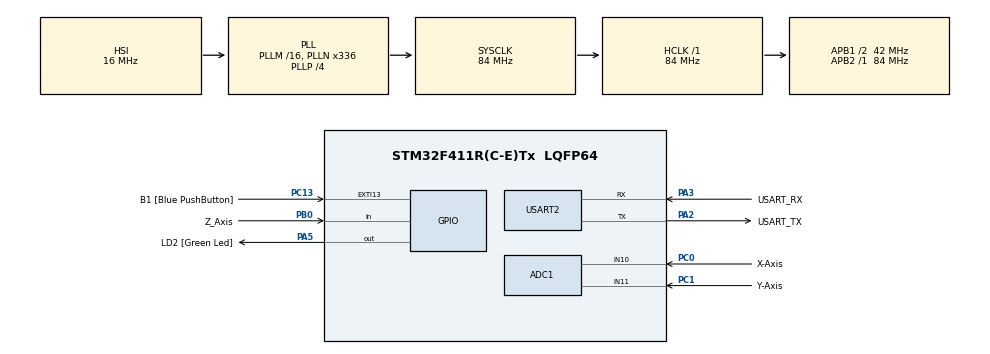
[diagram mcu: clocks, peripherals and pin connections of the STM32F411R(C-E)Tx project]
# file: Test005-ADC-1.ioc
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ADC1.Channel-1\#ChannelRegularConversion=ADC_CHANNEL_10
ADC1.Channel-3\#ChannelRegularConversion=ADC_CHANNEL_11
ADC1.DiscontinuousConvMode=ENABLE
ADC1.NbrOfConversion=2
ADC1.NbrOfConversionFlag=1
ADC1.NbrOfDiscConversion=1
ADC1.Rank-1\#ChannelRegularConversion=1
ADC1.Rank-3\#ChannelRegularConversion=2
ADC1.SamplingTime-1\#ChannelRegularConversion=ADC_SAMPLETIME_15CYCLES
ADC1.SamplingTime-3\#ChannelRegularConversion=ADC_SAMPLETIME_15CYCLES
ADC1.ScanConvMode=ENABLE
ADC1.master=1
Mcu.Family=STM32F4
Mcu.Name=STM32F411R(C-E)Tx
Mcu.Package=LQFP64
NVIC.PriorityGroup=NVIC_PRIORITYGROUP_0
PA13.GPIO_Label=TMS
PA13.Mode=Serial_Wire
PA13.Signal=SYS_JTMS-SWDIO
PA14.GPIO_Label=TCK
PA14.Mode=Serial_Wire
PA14.Signal=SYS_JTCK-SWCLK
PA2.GPIO_Label=USART_TX
PA2.Mode=Asynchronous
PA2.Signal=USART2_TX
PA3.GPIO_Label=USART_RX
PA3.Mode=Asynchronous
PA3.Signal=USART2_RX
PA5.GPIO_Label=LD2 [Green Led]
PA5.Signal=GPIO_Output
PB0.GPIO_Label=Z_Axis
PB0.GPIO_PuPd=GPIO_PULLUP
PB0.Signal=GPIO_Input
PB3.GPIO_Label=SWO
PB3.Signal=SYS_JTDO-SWO
PC0.GPIO_Label=X-Axis
PC0.Signal=ADCx_IN10
PC1.GPIO_Label=Y-Axis
PC1.Signal=ADCx_IN11
PC13-ANTI_TAMP.GPIO_Label=B1 [Blue PushButton]
PC13-ANTI_TAMP.GPIO_ModeDefaultEXTI=GPIO_MODE_IT_FALLING
PC13-ANTI_TAMP.Signal=GPXTI13
PC14-OSC32_IN.Mode=LSE-External-Oscillator
PC14-OSC32_IN.Signal=RCC_OSC32_IN
PC15-OSC32_OUT.Mode=LSE-External-Oscillator
PC15-OSC32_OUT.Signal=RCC_OSC32_OUT
PH0\ -\ OSC_IN.Mode=HSE-External-Clock-Source
PH0\ -\ OSC_IN.Signal=RCC_OSC_IN
PH1\ -\ OSC_OUT.Mode=HSE-External-Clock-Source
PH1\ -\ OSC_OUT.Signal=RCC_OSC_OUT
ProjectManager.HeapSize=0x200
ProjectManager.StackSize=0x400
ProjectManager.TargetToolchain=STM32CubeIDE
RCC.48MHZClocksFreq_Value=84000000
RCC.AHBFreq_Value=84000000
RCC.APB1CLKDivider=RCC_HCLK_DIV2
RCC.APB1Freq_Value=42000000
RCC.APB1TimFreq_Value=84000000
RCC.APB2Freq_Value=84000000
RCC.APB2TimFreq_Value=84000000
RCC.CortexFreq_Value=84000000
RCC.FLatency-AdvancedSettings=FLASH_LATENCY_2
RCC.HCLKFreq_Value=84000000
RCC.HSE_VALUE=8000000
RCC.HSI_VALUE=16000000
RCC.PLLN=336
RCC.PLLP=RCC_PLLP_DIV4
RCC.SYSCLKFreq_VALUE=84000000
RCC.SYSCLKSource=RCC_SYSCLKSOURCE_PLLCLK
RCC.VCOOutputFreq_Value=336000000
SH.ADCx_IN10.0=ADC1_IN10,IN10
SH.ADCx_IN11.0=ADC1_IN11,IN11
USART2.VirtualMode=VM_ASYNC
VP_TIM3_VS_ClockSourceINT.Mode=Internal
board=NUCLEO-F411RE

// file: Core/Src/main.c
/* USER CODE BEGIN Header */
/**
  ******************************************************************************
  * @file           : main.c
  * @brief          : Main program body
  ******************************************************************************
  * @attention
  *
  * Copyright (c) 2024 STMicroelectronics.
  * All rights reserved.
  *
  * This software is licensed under terms that can be found in the LICENSE file
  * in the root directory of this software component.
  * If no LICENSE file comes with this software, it is provided AS-IS.
  *
  ******************************************************************************
  */
/* USER CODE END Header */
#include "main.h"

ADC_HandleTypeDef hadc1;

TIM_HandleTypeDef htim3;

UART_HandleTypeDef huart2;

void SystemClock_Config(void);
static void MX_GPIO_Init(void);
static void MX_USART2_UART_Init(void);
static void MX_ADC1_Init(void);
static void MX_TIM3_Init(void);

/* USER CODE BEGIN 0 */
int xa[100],ya[100];
void MakeItem()
{
	int i;
	srand(htim3.Instance->CNT);
	for(i=0;i<100;i++)
	{
		int v1 =  rand();  //0 ~ 2,147,483,647
		int v2 =  rand();
		//printf("v : %d\r\n", x);
		//HAL_Delay(100);
		xa[i] = (((double)v1 / 2147483647.)) * 80;
		ya[i] = (((double)v2 / 2147483647.)) * 24;
		//printf("[%d;%d](%d,%d)\r\n",v1, v2, xa[i], ya[i]);
		printf("\033[%d;%dHo",ya[i], xa[i]);
	}
	printf("\n");
}
/* USER CODE END 0 */

int main(void)
{

  /* MCU Configuration--------------------------------------------------------*/

  /* Reset of all peripherals, Initializes the Flash interface and the Systick. */
  HAL_Init();

  /* Configure the system clock */
  SystemClock_Config();

  /* Initialize all configured peripherals */
  MX_GPIO_Init();
  MX_USART2_UART_Init();
  MX_ADC1_Init();
  MX_TIM3_Init();
  /* USER CODE BEGIN 2 */
  HAL_TIM_Base_Start(&htim3);
  ProgramStart("ADC Polling");
  printf("\033[2J\033[?25l\n");  // Clear screen & cursor invisible
  MakeItem();
  /* USER CODE END 2 */

  /* Infinite loop */
  /* USER CODE BEGIN WHILE */
  int sx=80,sy=24;	// screen size
  int cx=39,cy=12;  // initial position
  while (1)
  {
    /* USER CODE END WHILE */

    /* USER CODE BEGIN 3 */
	HAL_ADC_Start(&hadc1);
	HAL_ADC_PollForConversion(&hadc1, 1000); // start Trigger
	int v = ((double)((HAL_ADC_GetValue(&hadc1) * 3) / 4096)) - 2;
	int x = cx + v;
	x = (x > 78) ? 78 : (x < 0) ? 0 : x;
	//HAL_ADC_Stop(&hadc1);  // skip
	HAL_ADC_Start(&hadc1);
	HAL_ADC_PollForConversion(&hadc1, 1000); // start Trigger
	v = ((double)((HAL_ADC_GetValue(&hadc1) * 3) / 4096)) - 2;
	int y = cy + v;
	y = (y > 23) ? 23 : (y < 0) ? 0 : y;
	//HAL_ADC_Start(&hadc1);
	//HAL_ADC_PollForConversion(&hadc1, 1000); // start Trigger
	int z = HAL_GPIO_ReadPin(Z_Axis_GPIO_Port, Z_Axis_Pin);
	printf("\033[0;0HADC Value : (%d,%d,%d)", x, y, z);  // location info
	printf("\033[%d;%dH \033[%d;%dH@\033[A\n", cy, cx, y, x);
	cx = x; cy = y;  //save current pos
	HAL_Delay(100);
  }
  /* USER CODE END 3 */
}

void SystemClock_Config(void)
{
  RCC_OscInitTypeDef RCC_OscInitStruct = {0};
  RCC_ClkInitTypeDef RCC_ClkInitStruct = {0};

  /** Configure the main internal regulator output voltage
  */
  __HAL_RCC_PWR_CLK_ENABLE();
  __HAL_PWR_VOLTAGESCALING_CONFIG(PWR_REGULATOR_VOLTAGE_SCALE1);

  /** Initializes the RCC Oscillators according to the specified parameters
  * in the RCC_OscInitTypeDef structure.
  */
  RCC_OscInitStruct.OscillatorType = RCC_OSCILLATORTYPE_HSI;
  RCC_OscInitStruct.HSIState = RCC_HSI_ON;
  RCC_OscInitStruct.HSICalibrationValue = RCC_HSICALIBRATION_DEFAULT;
  RCC_OscInitStruct.PLL.PLLState = RCC_PLL_ON;
  RCC_OscInitStruct.PLL.PLLSource = RCC_PLLSOURCE_HSI;
  RCC_OscInitStruct.PLL.PLLM = 16;
  RCC_OscInitStruct.PLL.PLLN = 336;
  RCC_OscInitStruct.PLL.PLLP = RCC_PLLP_DIV4;
  RCC_OscInitStruct.PLL.PLLQ = 4;
  if (HAL_RCC_OscConfig(&RCC_OscInitStruct) != HAL_OK)
  {
    Error_Handler();
  }

  /** Initializes the CPU, AHB and APB buses clocks
  */
  RCC_ClkInitStruct.ClockType = RCC_CLOCKTYPE_HCLK|RCC_CLOCKTYPE_SYSCLK
                              |RCC_CLOCKTYPE_PCLK1|RCC_CLOCKTYPE_PCLK2;
  RCC_ClkInitStruct.SYSCLKSource = RCC_SYSCLKSOURCE_PLLCLK;
  RCC_ClkInitStruct.AHBCLKDivider = RCC_SYSCLK_DIV1;
  RCC_ClkInitStruct.APB1CLKDivider = RCC_HCLK_DIV2;
  RCC_ClkInitStruct.APB2CLKDivider = RCC_HCLK_DIV1;

  if (HAL_RCC_ClockConfig(&RCC_ClkInitStruct, FLASH_LATENCY_2) != HAL_OK)
  {
    Error_Handler();
  }
}

static void MX_ADC1_Init(void)
{

  ADC_ChannelConfTypeDef sConfig = {0};

  /** Configure the global features of the ADC (Clock, Resolution, Data Alignment and number of conversion)
  */
  hadc1.Instance = ADC1;
  hadc1.Init.ClockPrescaler = ADC_CLOCK_SYNC_PCLK_DIV4;
  hadc1.Init.Resolution = ADC_RESOLUTION_12B;
  hadc1.Init.ScanConvMode = ENABLE;
  hadc1.Init.ContinuousConvMode = DISABLE;
  hadc1.Init.DiscontinuousConvMode = ENABLE;
  hadc1.Init.NbrOfDiscConversion = 1;
  hadc1.Init.ExternalTrigConvEdge = ADC_EXTERNALTRIGCONVEDGE_NONE;
  hadc1.Init.ExternalTrigConv = ADC_SOFTWARE_START;
  hadc1.Init.DataAlign = ADC_DATAALIGN_RIGHT;
  hadc1.Init.NbrOfConversion = 2;
  hadc1.Init.DMAContinuousRequests = DISABLE;
  hadc1.Init.EOCSelection = ADC_EOC_SINGLE_CONV;
  if (HAL_ADC_Init(&hadc1) != HAL_OK)
  {
    Error_Handler();
  }

  /** Configure for the selected ADC regular channel its corresponding rank in the sequencer and its sample time.
  */
  sConfig.Channel = ADC_CHANNEL_10;
  sConfig.Rank = 1;
  sConfig.SamplingTime = ADC_SAMPLETIME_15CYCLES;
  if (HAL_ADC_ConfigChannel(&hadc1, &sConfig) != HAL_OK)
  {
    Error_Handler();
  }

  /** Configure for the selected ADC regular channel its corresponding rank in the sequencer and its sample time.
  */
  sConfig.Channel = ADC_CHANNEL_11;
  sConfig.Rank = 2;
  if (HAL_ADC_ConfigChannel(&hadc1, &sConfig) != HAL_OK)
  {
    Error_Handler();
  }

}

static void MX_TIM3_Init(void)
{

  TIM_ClockConfigTypeDef sClockSourceConfig = {0};
  TIM_MasterConfigTypeDef sMasterConfig = {0};

  htim3.Instance = TIM3;
  htim3.Init.Prescaler = 0;
  htim3.Init.CounterMode = TIM_COUNTERMODE_UP;
  htim3.Init.Period = 65535;
  htim3.Init.ClockDivision = TIM_CLOCKDIVISION_DIV1;
  htim3.Init.AutoReloadPreload = TIM_AUTORELOAD_PRELOAD_DISABLE;
  if (HAL_TIM_Base_Init(&htim3) != HAL_OK)
  {
    Error_Handler();
  }
  sClockSourceConfig.ClockSource = TIM_CLOCKSOURCE_INTERNAL;
  if (HAL_TIM_ConfigClockSource(&htim3, &sClockSourceConfig) != HAL_OK)
  {
    Error_Handler();
  }
  sMasterConfig.MasterOutputTrigger = TIM_TRGO_RESET;
  sMasterConfig.MasterSlaveMode = TIM_MASTERSLAVEMODE_DISABLE;
  if (HAL_TIMEx_MasterConfigSynchronization(&htim3, &sMasterConfig) != HAL_OK)
  {
    Error_Handler();
  }

}

static void MX_USART2_UART_Init(void)
{

  huart2.Instance = USART2;
  huart2.Init.BaudRate = 115200;
  huart2.Init.WordLength = UART_WORDLENGTH_8B;
  huart2.Init.StopBits = UART_STOPBITS_1;
  huart2.Init.Parity = UART_PARITY_NONE;
  huart2.Init.Mode = UART_MODE_TX_RX;
  huart2.Init.HwFlowCtl = UART_HWCONTROL_NONE;
  huart2.Init.OverSampling = UART_OVERSAMPLING_16;
  if (HAL_UART_Init(&huart2) != HAL_OK)
  {
    Error_Handler();
  }

}

static void MX_GPIO_Init(void)
{
  GPIO_InitTypeDef GPIO_InitStruct = {0};

  /* GPIO Ports Clock Enable */
  __HAL_RCC_GPIOC_CLK_ENABLE();
  __HAL_RCC_GPIOH_CLK_ENABLE();
  __HAL_RCC_GPIOA_CLK_ENABLE();
  __HAL_RCC_GPIOB_CLK_ENABLE();

  /*Configure GPIO pin Output Level */
  HAL_GPIO_WritePin(LD2_GPIO_Port, LD2_Pin, GPIO_PIN_RESET);

  /*Configure GPIO pin : B1_Pin */
  GPIO_InitStruct.Pin = B1_Pin;
  GPIO_InitStruct.Mode = GPIO_MODE_IT_FALLING;
  GPIO_InitStruct.Pull = GPIO_NOPULL;
  HAL_GPIO_Init(B1_GPIO_Port, &GPIO_InitStruct);

  /*Configure GPIO pin : LD2_Pin */
  GPIO_InitStruct.Pin = LD2_Pin;
  GPIO_InitStruct.Mode = GPIO_MODE_OUTPUT_PP;
  GPIO_InitStruct.Pull = GPIO_NOPULL;
  GPIO_InitStruct.Speed = GPIO_SPEED_FREQ_LOW;
  HAL_GPIO_Init(LD2_GPIO_Port, &GPIO_InitStruct);

  /*Configure GPIO pin : Z_Axis_Pin */
  GPIO_InitStruct.Pin = Z_Axis_Pin;
  GPIO_InitStruct.Mode = GPIO_MODE_INPUT;
  GPIO_InitStruct.Pull = GPIO_PULLUP;
  HAL_GPIO_Init(Z_Axis_GPIO_Port, &GPIO_InitStruct);

}

void Error_Handler(void)
{
  __disable_irq();
  while (1)
  {
  }
}
